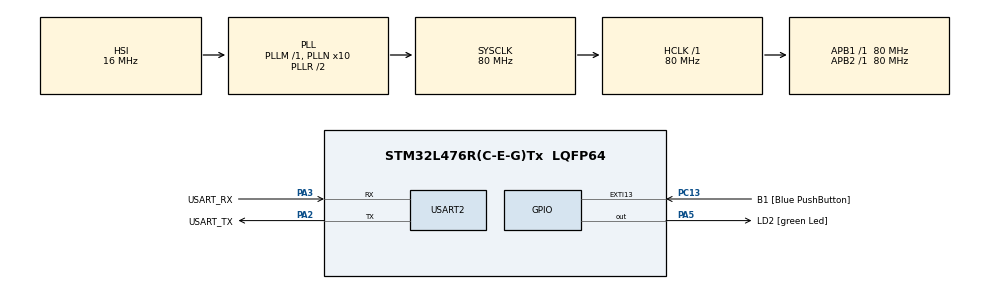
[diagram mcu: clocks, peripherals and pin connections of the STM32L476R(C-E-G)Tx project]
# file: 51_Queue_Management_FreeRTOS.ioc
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FREERTOS.Tasks01=defaultTask,0,128,StartDefaultTask,Default,NULL,Dynamic,NULL,NULL
Mcu.Family=STM32L4
Mcu.Name=STM32L476R(C-E-G)Tx
Mcu.Package=LQFP64
NVIC.PriorityGroup=NVIC_PRIORITYGROUP_4
PA13\ (JTMS-SWDIO).GPIO_Label=TMS
PA13\ (JTMS-SWDIO).Mode=Serial_Wire
PA13\ (JTMS-SWDIO).Signal=SYS_JTMS-SWDIO
PA14\ (JTCK-SWCLK).GPIO_Label=TCK
PA14\ (JTCK-SWCLK).Mode=Serial_Wire
PA14\ (JTCK-SWCLK).Signal=SYS_JTCK-SWCLK
PA2.GPIO_Label=USART_TX
PA2.GPIO_Mode=GPIO_MODE_AF_PP
PA2.GPIO_PuPd=GPIO_NOPULL
PA2.GPIO_Speed=GPIO_SPEED_FREQ_VERY_HIGH
PA2.Mode=Asynchronous
PA2.Signal=USART2_TX
PA3.GPIO_Label=USART_RX
PA3.GPIO_Mode=GPIO_MODE_AF_PP
PA3.GPIO_PuPd=GPIO_NOPULL
PA3.GPIO_Speed=GPIO_SPEED_FREQ_VERY_HIGH
PA3.Mode=Asynchronous
PA3.Signal=USART2_RX
PA5.GPIO_Label=LD2 [green Led]
PA5.GPIO_ModeDefaultOutputPP=GPIO_MODE_OUTPUT_PP
PA5.GPIO_PuPd=GPIO_NOPULL
PA5.GPIO_Speed=GPIO_SPEED_FREQ_LOW
PA5.Signal=GPIO_Output
PB3\ (JTDO-TRACESWO).GPIO_Label=SWO
PB3\ (JTDO-TRACESWO).Signal=SYS_JTDO-SWO
PC13.GPIO_Label=B1 [Blue PushButton]
PC13.GPIO_ModeDefaultEXTI=GPIO_MODE_IT_FALLING
PC13.GPIO_PuPd=GPIO_NOPULL
PC13.Signal=GPXTI13
PC14-OSC32_IN\ (PC14).Mode=LSE-External-Oscillator
PC14-OSC32_IN\ (PC14).Signal=RCC_OSC32_IN
PC15-OSC32_OUT\ (PC15).Mode=LSE-External-Oscillator
PC15-OSC32_OUT\ (PC15).Signal=RCC_OSC32_OUT
PH0-OSC_IN\ (PH0).Signal=RCC_OSC_IN
PH1-OSC_OUT\ (PH1).Signal=RCC_OSC_OUT
ProjectManager.HeapSize=0x200
ProjectManager.StackSize=0x400
ProjectManager.TargetToolchain=STM32CubeIDE
RCC.ADCFreq_Value=64000000
RCC.AHBFreq_Value=80000000
RCC.APB1Freq_Value=80000000
RCC.APB1TimFreq_Value=80000000
RCC.APB2Freq_Value=80000000
RCC.APB2TimFreq_Value=80000000
RCC.CortexFreq_Value=80000000
RCC.HCLKFreq_Value=80000000
RCC.HSE_VALUE=8000000
RCC.HSI_VALUE=16000000
RCC.MSI_VALUE=4000000
RCC.PLLN=10
RCC.PLLSourceVirtual=RCC_PLLSOURCE_HSI
RCC.PREFETCH_ENABLE=1
RCC.SYSCLKFreq_VALUE=80000000
RCC.SYSCLKSource=RCC_SYSCLKSOURCE_PLLCLK
RCC.USBFreq_Value=64000000
RCC.VCOOutputFreq_Value=160000000
USART2.VirtualMode-Asynchronous=VM_ASYNC
VP_FREERTOS_VS_CMSIS_V1.Mode=CMSIS_V1
VP_RTC_VS_RTC_Activate.Mode=RTC_Enabled
VP_RTC_VS_RTC_Calendar.Mode=RTC_Calendar
board=NUCLEO-L476RG

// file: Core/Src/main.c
/* USER CODE BEGIN Header */
/**
  ******************************************************************************
  * @file           : main.c
  * @brief          : Main program body
  ******************************************************************************
  * @attention
  *
  * Copyright (c) 2025 STMicroelectronics.
  * All rights reserved.
  *
  * This software is licensed under terms that can be found in the LICENSE file
  * in the root directory of this software component.
  * If no LICENSE file comes with this software, it is provided AS-IS.
  *
  ******************************************************************************
  */
/* USER CODE END Header */
#include "main.h"
#include "cmsis_os.h"

/* USER CODE BEGIN Includes */
#include<stdio.h>
#include<string.h>
/* USER CODE END Includes */

/* USER CODE BEGIN PM */
typedef struct {
    uint8_t cmd_no;       // Command number
    uint8_t cmd_arg[10];  // Arguments for the command (currently unused)
} APP_CMD_t;
/* USER CODE END PM */

RTC_HandleTypeDef hrtc;

UART_HandleTypeDef huart2;

osThreadId defaultTaskHandle;
/* USER CODE BEGIN PV */

char msg[100];                        // Buffer for UART messages
uint8_t command_buffer[20];           // Buffer to store UART input
uint8_t command_length = 0;           // Length of command input

// Menu string displayed on UART
char menu[] =
    "\r\nLED_ON          ->1"
    "\r\nLED_OFF         ->2"
    "\r\nLED_TOGGLE      ->3"
    "\r\nLED_READ_STATUS ->4"
    "\r\nRTC_PRINT       ->5"
    "\r\nEXIT            ->0"
    "\r\nENTER YOUR OPTION:";

// Command codes
#define LED_ON          1
#define LED_OFF         2
#define LED_TOGGLE      3
#define LED_READ_STATUS 4
#define RTC_READ        5

// Task handles
TaskHandle_t xTaskHandle1=NULL;
TaskHandle_t xTaskHandle2=NULL;
TaskHandle_t xTaskHandle3=NULL;
TaskHandle_t xTaskHandle4=NULL;

// Queues
QueueHandle_t command_queue;     // Queue for command processing
QueueHandle_t uart_write_queue;  // Queue for UART output
/* USER CODE END PV */

void SystemClock_Config(void);
static void MX_GPIO_Init(void);
static void MX_USART2_UART_Init(void);
static void MX_RTC_Init(void);
void StartDefaultTask(void const * argument);

/* USER CODE BEGIN 0 */
uint8_t getCommandCode(uint8_t *buffer);   // Extract numeric command from buffer

void make_led_on(void);                     // Turn LED on
void make_led_off(void);                    // Turn LED off
void led_toggle(void);                      // Toggle LED
void read_led_status(char *task_msg);      // Send LED status to UART
void read_rtc_info(char *task_msg);        // Send RTC info to UART
void print_error_message(char *task_msg);  // Send error message to UART

uint8_t rx_byte;                            // UART received byte
/* USER CODE END PFP */

/* USER CODE BEGIN 0 */
// UART receive interrupt callback
void HAL_UART_RxCpltCallback(UART_HandleTypeDef *huart)
{
    BaseType_t xHigherPriorityTaskWoken = pdFALSE;

    if (huart->Instance == USART2)
    {
        // Echo received byte back to UART
        HAL_UART_Transmit_IT(&huart2, &rx_byte, 1);

        // Store byte in command buffer
        command_buffer[command_length++] = rx_byte;

        // If Enter key is pressed, notify Task1 (menu) and Task2 (command handler)
        if (rx_byte == '\r')
        {
            command_length = 0;
            vTaskNotifyGiveFromISR(xTaskHandle1, &xHigherPriorityTaskWoken);
            vTaskNotifyGiveFromISR(xTaskHandle2, &xHigherPriorityTaskWoken);
        }

        // Start next UART receive interrupt
        HAL_UART_Receive_IT(&huart2, &rx_byte, 1);

        // Yield if higher priority task was woken
        portYIELD_FROM_ISR(xHigherPriorityTaskWoken);
    }
}

void uart_msg(char *s)
{
    HAL_UART_Transmit(&huart2, (uint8_t*)s, strlen(s), 1000);
}
void Task1_menu_display(void *params)
{
    char *pdata = menu;
    while(1)
    {
        xQueueSend(uart_write_queue, &pdata, portMAX_DELAY); // Send menu string to UART task
        xTaskNotifyWait(0, 0, NULL, portMAX_DELAY);          // Wait until Enter is pressed
    }
}
// Task2: Handle input commands
void Task2_cmd_handling(void *params)
{
    uint8_t cmd_code = 0;
    APP_CMD_t *new_cmd;

    while(1)
    {
        xTaskNotifyWait(0,0,NULL,portMAX_DELAY);           // Wait for notification from ISR

        // Allocate memory for command
        new_cmd = (APP_CMD_t*)pvPortMalloc(sizeof(APP_CMD_t));

        taskENTER_CRITICAL();
        cmd_code = getCommandCode(command_buffer);       // Extract numeric command
        new_cmd->cmd_no = cmd_code;
        taskEXIT_CRITICAL();

        // Send command pointer to processing queue
        xQueueSend(command_queue, &new_cmd, portMAX_DELAY);
    }
}

// Task3: Process commands
void Task3_cmd_processing(void *params)
{
    APP_CMD_t *new_cmd;
    char task_msg[50];

    while(1)
    {
        // Receive command from queue
        xQueueReceive(command_queue, (void*)&new_cmd, portMAX_DELAY);

        // Execute corresponding action
        if(new_cmd->cmd_no == LED_ON)
        {
            make_led_on();
        }
        else if(new_cmd->cmd_no == LED_OFF)
        {
            make_led_off();
        }
        else if(new_cmd->cmd_no == LED_TOGGLE)
        {
            led_toggle();
        }
        else if(new_cmd->cmd_no == LED_READ_STATUS)
        {
            read_led_status(task_msg);
        }
        else if(new_cmd->cmd_no == RTC_READ)
        {
            read_rtc_info(task_msg);
        }
        else
        {
            print_error_message(task_msg);
        }

        vPortFree(new_cmd); // Free allocated memory
    }
}
// Task4: Write messages to UART
void Task4_uart_write(void *params)
{
char *data = NULL;
while(1)
{
     xQueueReceive(uart_write_queue, &data, portMAX_DELAY); // Wait for message
     uart_msg(data);                                        // Send to UART
}
}

// Extract numeric command from buffer
uint8_t getCommandCode(uint8_t *buffer)
{
return buffer[0] - 48; // Convert ASCII '0'-'9' to number
}

// LED control functions
void make_led_on(void)  { HAL_GPIO_WritePin(GPIOA, GPIO_PIN_5, SET); }
void make_led_off(void) { HAL_GPIO_WritePin(GPIOA, GPIO_PIN_5, RESET); }
void led_toggle(void)   { HAL_GPIO_TogglePin(GPIOA, GPIO_PIN_5); }

// Read LED status and send to UART
void read_led_status(char *task_msg)
{
sprintf(task_msg , "\r\nLED status is : %d\r\n", HAL_GPIO_ReadPin(GPIOA, GPIO_PIN_5));
xQueueSend(uart_write_queue, &task_msg, portMAX_DELAY);
}

// Read RTC time/date and send to UART
void read_rtc_info(char *task_msg)
{
RTC_TimeTypeDef sTime = {0};
RTC_DateTypeDef sDate = {0};

// Initialize RTC if not already initialized
if ((RTC->ISR & RTC_ISR_INITS) == 0)
{
    sTime.Hours = 5; sTime.Minutes = 0; sTime.Seconds = 0;
    sTime.DayLightSaving = RTC_DAYLIGHTSAVING_NONE;
    sTime.StoreOperation = RTC_STOREOPERATION_RESET;
    HAL_RTC_SetTime(&hrtc, &sTime, RTC_FORMAT_BIN);

    sDate.WeekDay = RTC_WEEKDAY_THURSDAY;
    sDate.Month = RTC_MONTH_SEPTEMBER;
    sDate.Date = 11;
    sDate.Year = 25;
    HAL_RTC_SetDate(&hrtc, &sDate, RTC_FORMAT_BIN);
}

HAL_RTC_GetTime(&hrtc, &sTime, RTC_FORMAT_BIN);
HAL_RTC_GetDate(&hrtc, &sDate, RTC_FORMAT_BIN);

sprintf(task_msg, "Time: %02d:%02d:%02d | Date: %02d-%02d-20%02d\r\n",
        sTime.Hours, sTime.Minutes, sTime.Seconds,
        sDate.Date, sDate.Month, sDate.Year);

xQueueSend(uart_write_queue, &task_msg, portMAX_DELAY);
}

// Send error message to UART
void print_error_message(char *task_msg)
{
sprintf(task_msg, "\r\nInvalid command received\r\n");
xQueueSend(uart_write_queue, &task_msg, portMAX_DELAY);
}

/* USER CODE END 0 */

int main(void)
{

  /* MCU Configuration--------------------------------------------------------*/

  /* Reset of all peripherals, Initializes the Flash interface and the Systick. */
  HAL_Init();

  /* Configure the system clock */
  SystemClock_Config();

  /* Initialize all configured peripherals */
  MX_GPIO_Init();
  MX_USART2_UART_Init();
  MX_RTC_Init();
  /* USER CODE BEGIN 2 */
  sprintf(msg,"QUEUE DEMO\r\n");
    uart_msg(msg);

    command_queue = xQueueCreate(10, sizeof(APP_CMD_t*));

    uart_write_queue = xQueueCreate(10, sizeof(char*));

    /* add threads, ... */
    if((command_queue != NULL ) && (uart_write_queue != NULL ))
    {
        // Create tasks
        xTaskCreate(Task1_menu_display, "TASK 1-MENU", configMINIMAL_STACK_SIZE, NULL, 1, &xTaskHandle1);
        xTaskCreate(Task2_cmd_handling, "TASK 2-CMD_HANDLING", configMINIMAL_STACK_SIZE, NULL, 2, &xTaskHandle2);
        xTaskCreate(Task3_cmd_processing, "TASK 3-CMD_PROCESS", configMINIMAL_STACK_SIZE, NULL, 2, &xTaskHandle3);
        xTaskCreate(Task4_uart_write, "TASK 4-UART_WRITE", configMINIMAL_STACK_SIZE, NULL, 2, &xTaskHandle4);

        HAL_UART_Receive_IT(&huart2, &rx_byte, 1); // Start UART receive interrupt

        osKernelStart(); // Start FreeRTOS scheduler
    }
    else
    {
  	  sprintf(msg,"QUEUE Creation Failed\r\n");
  	  uart_msg(msg);
    }
  /* USER CODE END 2 */

  /* Create the thread(s) */
  /* definition and creation of defaultTask */

  /* We should never get here as control is now taken by the scheduler */

  /* Infinite loop */
  while (1)
  {

  }
}

void SystemClock_Config(void)
{
  RCC_OscInitTypeDef RCC_OscInitStruct = {0};
  RCC_ClkInitTypeDef RCC_ClkInitStruct = {0};

  /** Configure the main internal regulator output voltage
  */
  if (HAL_PWREx_ControlVoltageScaling(PWR_REGULATOR_VOLTAGE_SCALE1) != HAL_OK)
  {
    Error_Handler();
  }

  /** Initializes the RCC Oscillators according to the specified parameters
  * in the RCC_OscInitTypeDef structure.
  */
  RCC_OscInitStruct.OscillatorType = RCC_OSCILLATORTYPE_HSI|RCC_OSCILLATORTYPE_LSI;
  RCC_OscInitStruct.HSIState = RCC_HSI_ON;
  RCC_OscInitStruct.HSICalibrationValue = RCC_HSICALIBRATION_DEFAULT;
  RCC_OscInitStruct.LSIState = RCC_LSI_ON;
  RCC_OscInitStruct.PLL.PLLState = RCC_PLL_ON;
  RCC_OscInitStruct.PLL.PLLSource = RCC_PLLSOURCE_HSI;
  RCC_OscInitStruct.PLL.PLLM = 1;
  RCC_OscInitStruct.PLL.PLLN = 10;
  RCC_OscInitStruct.PLL.PLLP = RCC_PLLP_DIV7;
  RCC_OscInitStruct.PLL.PLLQ = RCC_PLLQ_DIV2;
  RCC_OscInitStruct.PLL.PLLR = RCC_PLLR_DIV2;
  if (HAL_RCC_OscConfig(&RCC_OscInitStruct) != HAL_OK)
  {
    Error_Handler();
  }

  /** Initializes the CPU, AHB and APB buses clocks
  */
  RCC_ClkInitStruct.ClockType = RCC_CLOCKTYPE_HCLK|RCC_CLOCKTYPE_SYSCLK
                              |RCC_CLOCKTYPE_PCLK1|RCC_CLOCKTYPE_PCLK2;
  RCC_ClkInitStruct.SYSCLKSource = RCC_SYSCLKSOURCE_PLLCLK;
  RCC_ClkInitStruct.AHBCLKDivider = RCC_SYSCLK_DIV1;
  RCC_ClkInitStruct.APB1CLKDivider = RCC_HCLK_DIV1;
  RCC_ClkInitStruct.APB2CLKDivider = RCC_HCLK_DIV1;

  if (HAL_RCC_ClockConfig(&RCC_ClkInitStruct, FLASH_LATENCY_4) != HAL_OK)
  {
    Error_Handler();
  }
}

static void MX_RTC_Init(void)
{

  RTC_TimeTypeDef sTime = {0};
  RTC_DateTypeDef sDate = {0};

  /** Initialize RTC Only
  */
  hrtc.Instance = RTC;
  hrtc.Init.HourFormat = RTC_HOURFORMAT_24;
  hrtc.Init.AsynchPrediv = 127;
  hrtc.Init.SynchPrediv = 255;
  hrtc.Init.OutPut = RTC_OUTPUT_DISABLE;
  hrtc.Init.OutPutRemap = RTC_OUTPUT_REMAP_NONE;
  hrtc.Init.OutPutPolarity = RTC_OUTPUT_POLARITY_HIGH;
  hrtc.Init.OutPutType = RTC_OUTPUT_TYPE_OPENDRAIN;
  if (HAL_RTC_Init(&hrtc) != HAL_OK)
  {
    Error_Handler();
  }

  /** Initialize RTC and set the Time and Date
  */
  sTime.Hours = 0x0;
  sTime.Minutes = 0x0;
  sTime.Seconds = 0x0;
  sTime.DayLightSaving = RTC_DAYLIGHTSAVING_NONE;
  sTime.StoreOperation = RTC_STOREOPERATION_RESET;
  if (HAL_RTC_SetTime(&hrtc, &sTime, RTC_FORMAT_BCD) != HAL_OK)
  {
    Error_Handler();
  }
  sDate.WeekDay = RTC_WEEKDAY_MONDAY;
  sDate.Month = RTC_MONTH_JANUARY;
  sDate.Date = 0x1;
  sDate.Year = 0x0;

  if (HAL_RTC_SetDate(&hrtc, &sDate, RTC_FORMAT_BCD) != HAL_OK)
  {
    Error_Handler();
  }

}

static void MX_USART2_UART_Init(void)
{

  huart2.Instance = USART2;
  huart2.Init.BaudRate = 115200;
  huart2.Init.WordLength = UART_WORDLENGTH_8B;
  huart2.Init.StopBits = UART_STOPBITS_1;
  huart2.Init.Parity = UART_PARITY_NONE;
  huart2.Init.Mode = UART_MODE_TX_RX;
  huart2.Init.HwFlowCtl = UART_HWCONTROL_NONE;
  huart2.Init.OverSampling = UART_OVERSAMPLING_16;
  huart2.Init.OneBitSampling = UART_ONE_BIT_SAMPLE_DISABLE;
  huart2.AdvancedInit.AdvFeatureInit = UART_ADVFEATURE_NO_INIT;
  if (HAL_UART_Init(&huart2) != HAL_OK)
  {
    Error_Handler();
  }

}

static void MX_GPIO_Init(void)
{
  GPIO_InitTypeDef GPIO_InitStruct = {0};

  /* GPIO Ports Clock Enable */
  __HAL_RCC_GPIOC_CLK_ENABLE();
  __HAL_RCC_GPIOH_CLK_ENABLE();
  __HAL_RCC_GPIOA_CLK_ENABLE();
  __HAL_RCC_GPIOB_CLK_ENABLE();

  /*Configure GPIO pin Output Level */
  HAL_GPIO_WritePin(LD2_GPIO_Port, LD2_Pin, GPIO_PIN_RESET);

  /*Configure GPIO pin : B1_Pin */
  GPIO_InitStruct.Pin = B1_Pin;
  GPIO_InitStruct.Mode = GPIO_MODE_IT_FALLING;
  GPIO_InitStruct.Pull = GPIO_NOPULL;
  HAL_GPIO_Init(B1_GPIO_Port, &GPIO_InitStruct);

  /*Configure GPIO pin : LD2_Pin */
  GPIO_InitStruct.Pin = LD2_Pin;
  GPIO_InitStruct.Mode = GPIO_MODE_OUTPUT_PP;
  GPIO_InitStruct.Pull = GPIO_NOPULL;
  GPIO_InitStruct.Speed = GPIO_SPEED_FREQ_LOW;
  HAL_GPIO_Init(LD2_GPIO_Port, &GPIO_InitStruct);

}

void StartDefaultTask(void const * argument)
{
  for(;;)
  {
    osDelay(1);
  }
}

void Error_Handler(void)
{
  __disable_irq();
  while (1)
  {
  }
}
